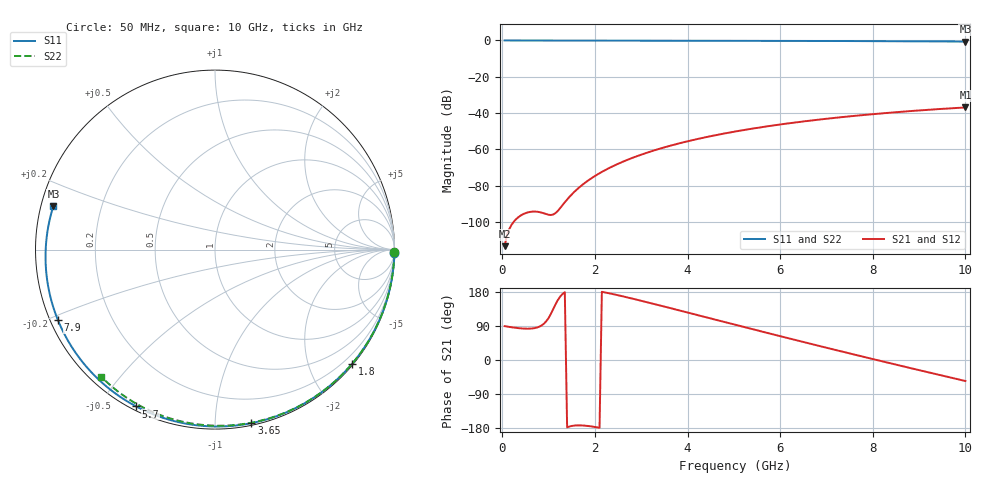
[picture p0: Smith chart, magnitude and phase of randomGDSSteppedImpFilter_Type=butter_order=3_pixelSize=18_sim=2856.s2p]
! freq	dB(S11)	phase(S11)	dB(S12)	phase(S12)
!  dB(S21)	phase(S21)	dB(S22)	phase(S22)
!S-par simulation data
#  GHz  S  DB  R 50
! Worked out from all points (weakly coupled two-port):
!   200 points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, 50 MHz to 10 GHz, reference 50 ohm
!   highest |S21| = -36.93 dB at 10 GHz (marker M1); lowest = -113.4 dB at 50 MHz (marker M2)
!   lowest |S11| = -0.6 dB at 10 GHz (marker M3), VSWR 28.66, Z = 1.78 + j6.62 ohm
!   |S11| at or under -10 dB: nowhere
!   |S22| runs from -0.4 to 0.0 dB; largest |S21 - S12| = 0
!   S11 on the Smith chart (normalised r, x): 50 MHz: open; 1.8 GHz: 0.03, -2.75; 3.65 GHz: 0.02, -1.23; 5.7 GHz: 0.02, -0.62; 7.9 GHz: 0.02, -0.21; 10 GHz: 0.04, +0.13
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0.05  -0.00 -1.1  -113.41 89.3  -113.41 89.3  -0.00 -0.8
0.45  -0.01 -10.1  -95.76 83.0  -95.76 83.0  -0.01 -6.8
0.85  -0.02 -19.1  -94.91 91.3  -94.91 91.3  -0.02 -12.9
1.25  -0.04 -28.0  -92.41 167.4  -92.41 167.4  -0.02 -18.9
1.7  -0.05 -37.8  -80.17 -172.6  -80.17 -172.6  -0.03 -25.5
1.75  -0.05 -38.9  -79.15 -172.9  -79.15 -172.9  -0.03 -26.3
1.8  -0.05 -39.9  -78.18 -173.4  -78.18 -173.4  -0.03 -27.0
2.1  -0.06 -46.4  -73.18 -178.9  -73.18 -178.9  -0.04 -31.4
2.5  -0.07 -54.8  -68.00 170.9  -68.00 170.9  -0.05 -37.2
2.9  -0.08 -63.1  -63.87 159.3  -63.87 159.3  -0.06 -43.0
3.4  -0.10 -73.2  -59.67 144.1  -59.67 144.1  -0.07 -50.0
3.65  -0.10 -78.2  -57.87 136.3  -57.87 136.3  -0.07 -53.5
4.35  -0.13 -91.7  -53.57 114.3  -53.57 114.3  -0.09 -63.1
5.05  -0.16 -104.8  -50.10 92.4  -50.10 92.4  -0.11 -72.4
5.7  -0.19 -116.7  -47.42 72.1  -47.42 72.1  -0.13 -80.8
6.2  -0.22 -125.7  -45.63 56.7  -45.63 56.7  -0.16 -87.1
6.7  -0.26 -134.6  -44.04 41.5  -44.04 41.5  -0.18 -93.3
7.3  -0.31 -145.2  -42.35 23.3  -42.35 23.3  -0.21 -100.6
7.9  -0.36 -155.8  -40.86 5.4  -40.86 5.4  -0.25 -107.7
8.35  -0.41 -163.9  -39.87 -7.8  -39.87 -7.8  -0.29 -112.9
9.2  -0.50 -179.6  -38.22 -32.5  -38.22 -32.5  -0.36 -122.7
10  -0.61 164.9  -36.93 -55.4  -36.93 -55.4  -0.44 -131.7
